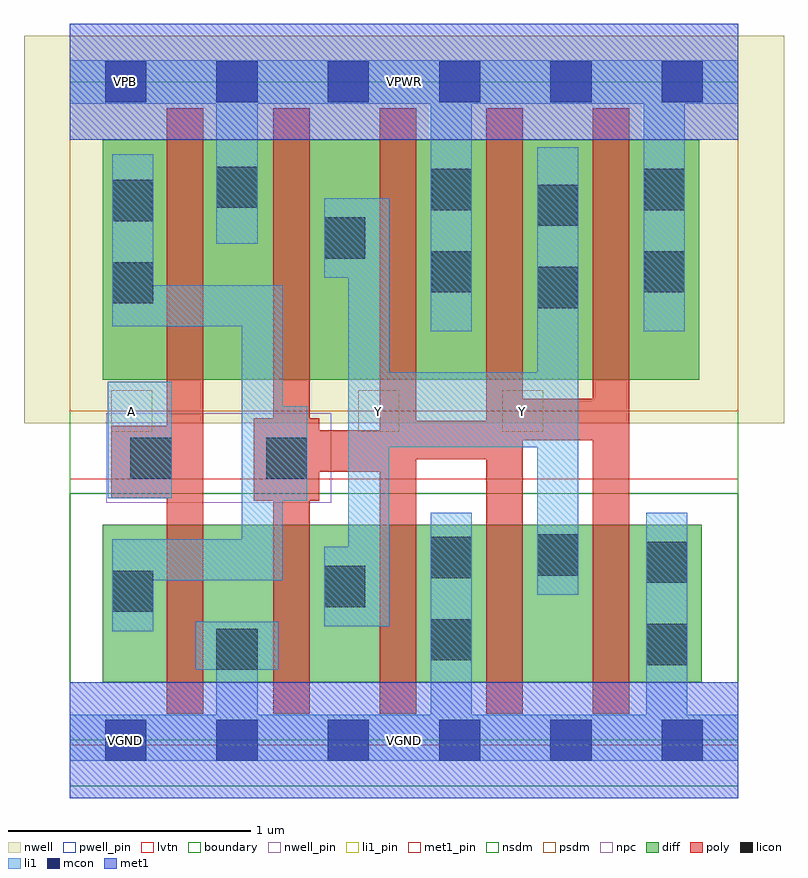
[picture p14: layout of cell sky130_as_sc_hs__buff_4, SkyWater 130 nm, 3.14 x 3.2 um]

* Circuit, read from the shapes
.subckt sky130_as_sc_hs__buff_4 A VGND VNB VPB VPWR Y
XM1 VGND A n1 VNB sky130_fd_pr__nfet_01v8_lvt w=0.65 l=0.15
XM2 Y n1 VGND VNB sky130_fd_pr__nfet_01v8_lvt w=0.65 l=0.15 m=4
XM3 VPWR A n1 VPB sky130_fd_pr__pfet_01v8 w=0.99 l=0.15
XM4 Y n1 VPWR VPB sky130_fd_pr__pfet_01v8 w=0.99 l=0.15 m=4
.ends

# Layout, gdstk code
import gdstk
lib = gdstk.Library(unit=1e-6, precision=1e-09)
def R(c, l, rs):  # rectangles x0, y0, x1, y1
    for r in rs: c.add(gdstk.rectangle(r[:2], r[2:], *l))
def A(c, l, x, y, w, h, nx, ny, dx, dy):  # array of equal rectangles
    R(c, l, [(x+i*dx, y+j*dy, x+i*dx+w, y+j*dy+h) for i in range(nx) for j in range(ny)])
nwell_pin = (64, 16)
nwell = (64, 20)
diff = (65, 20)
poly = (66, 20)
licon = (66, 44)
li1_pin = (67, 16)
li1 = (67, 20)
mcon = (67, 44)
met1_pin = (68, 16)
met1 = (68, 20)
nsdm = (93, 44)
psdm = (94, 20)
npc = (95, 20)
pwell_pin = (122, 16)
lvtn = (125, 44)
boundary = (235, 4)

sky130_as_sc_hs__buff_4 = lib.new_cell('sky130_as_sc_hs__buff_4')
R(sky130_as_sc_hs__buff_4, nwell_pin, [(0.145,2.635,0.315,2.805)])
R(sky130_as_sc_hs__buff_4, nwell, [(-0.19,1.31,2.95,2.91)])
R(sky130_as_sc_hs__buff_4, diff, [(0.135,0.24,2.61,0.89), (0.135,1.49,2.6,2.48)])
R(sky130_as_sc_hs__buff_4, poly, [(0.4,0.11,0.55,1), (0.84,0.11,0.99,0.99), (1.28,0.11,1.43,1.11), (1.72,0.11,1.87,1.16), (2.16,0.11,2.31,1.24), (0.76,0.99,1.03,1.11), (0.17,1,0.55,1.3), (0.76,1.11,1.43,1.16), (0.76,1.16,1.87,1.24), (0.76,1.24,2.31,1.28), (0.76,1.28,1.03,1.33), (1.28,1.28,2.31,1.32), (0.4,1.3,0.55,2.61), (1.28,1.32,1.43,2.61), (1.72,1.32,2.31,1.41), (0.84,1.33,0.99,2.61), (1.72,1.41,1.87,2.61), (2.16,1.41,2.31,2.61)])
R(sky130_as_sc_hs__buff_4, licon, [(0.605,0.29,0.775,0.46), (2.38,0.31,2.55,0.48), (1.49,0.33,1.66,0.5), (0.175,0.53,0.345,0.7), (1.05,0.55,1.22,0.72), (2.38,0.65,2.55,0.82), (1.49,0.67,1.66,0.84), (1.93,0.68,2.1,0.85), (0.25,1.08,0.42,1.25), (0.81,1.08,0.98,1.25), (1.93,1.785,2.1,1.955), (0.175,1.805,0.345,1.975), (1.49,1.85,1.66,2.02), (2.37,1.85,2.54,2.02), (1.05,1.99,1.22,2.16), (1.93,2.125,2.1,2.295), (0.175,2.145,0.345,2.315), (1.49,2.19,1.66,2.36), (2.37,2.19,2.54,2.36), (0.605,2.2,0.775,2.37)])
R(sky130_as_sc_hs__buff_4, li1_pin, [(0.17,1.275,0.34,1.445), (1.19,1.275,1.36,1.445), (1.785,1.275,1.955,1.445)])
R(sky130_as_sc_hs__buff_4, li1, [(0,-0.085,2.76,0.105), (0.605,0.105,0.775,0.29), (1.49,0.105,1.66,0.94), (2.38,0.105,2.55,0.94), (0.52,0.29,0.86,0.49), (0.175,0.45,0.345,0.66), (1.05,0.47,1.32,0.8), (1.93,0.6,2.1,1.21), (0.175,0.66,0.88,0.83), (1.15,0.8,1.32,1.21), (0.71,0.83,0.88,0.99), (0.71,0.99,0.98,1.38), (0.155,1,0.42,1.48), (1.15,1.21,2.1,1.52), (0.71,1.38,0.88,1.71), (1.15,1.52,1.32,1.91), (1.93,1.52,2.1,2.45), (1.49,1.69,1.66,2.63), (2.37,1.69,2.54,2.63), (0.175,1.71,0.88,1.88), (0.175,1.88,0.345,2.42), (1.05,1.91,1.32,2.24), (0.605,2.05,0.775,2.63), (0,2.63,2.76,2.81)])
A(sky130_as_sc_hs__buff_4, mcon, 0.145, -0.085, 0.17, 0.17, 6, 2, 0.46, 2.72)
R(sky130_as_sc_hs__buff_4, met1_pin, [(0,-0.24,2.76,0.24), (0.145,-0.085,0.315,0.085), (0,2.48,2.76,2.96), (0.145,2.635,0.315,2.805)])
R(sky130_as_sc_hs__buff_4, met1, [(0,-0.24,2.76,0.24), (0,2.48,2.76,2.96)])
R(sky130_as_sc_hs__buff_4, nsdm, [(0,-0.19,2.76,1.02)])
R(sky130_as_sc_hs__buff_4, psdm, [(0,1.36,2.76,2.91)])
R(sky130_as_sc_hs__buff_4, npc, [(0.15,0.98,1.08,1.35)])
R(sky130_as_sc_hs__buff_4, pwell_pin, [(0.145,-0.085,0.315,0.085)])
R(sky130_as_sc_hs__buff_4, lvtn, [(0,-0.02,2.76,1.08)])
R(sky130_as_sc_hs__buff_4, boundary, [(0,0,2.76,2.72)])
sky130_as_sc_hs__buff_4.add(gdstk.Label('VPB', (0.23,2.72), layer=64, texttype=5))
sky130_as_sc_hs__buff_4.add(gdstk.Label('VPB', (0.23,2.72), layer=64, texttype=5))
sky130_as_sc_hs__buff_4.add(gdstk.Label('VGND', (0.23,0), layer=68, texttype=5))
sky130_as_sc_hs__buff_4.add(gdstk.Label('VGND', (1.38,0), layer=68, texttype=5))
sky130_as_sc_hs__buff_4.add(gdstk.Label('VPWR', (0.23,2.72), layer=68, texttype=5))
sky130_as_sc_hs__buff_4.add(gdstk.Label('VPWR', (1.38,2.72), layer=68, texttype=5))
sky130_as_sc_hs__buff_4.add(gdstk.Label('VNB', (0.23,0), layer=64, texttype=59))
sky130_as_sc_hs__buff_4.add(gdstk.Label('VNB', (0.23,0), layer=64, texttype=59))
sky130_as_sc_hs__buff_4.add(gdstk.Label('Y', (1.275,1.36), layer=67, texttype=5))
sky130_as_sc_hs__buff_4.add(gdstk.Label('Y', (1.275,1.36), layer=67, texttype=5))
sky130_as_sc_hs__buff_4.add(gdstk.Label('Y', (1.87,1.36), layer=67, texttype=5))
sky130_as_sc_hs__buff_4.add(gdstk.Label('Y', (1.87,1.36), layer=67, texttype=5))
sky130_as_sc_hs__buff_4.add(gdstk.Label('A', (0.255,1.36), layer=67, texttype=5))
sky130_as_sc_hs__buff_4.add(gdstk.Label('A', (0.255,1.36), layer=67, texttype=5))

lib.write_gds('sky130_as_sc_hs__buff_4.gds')
